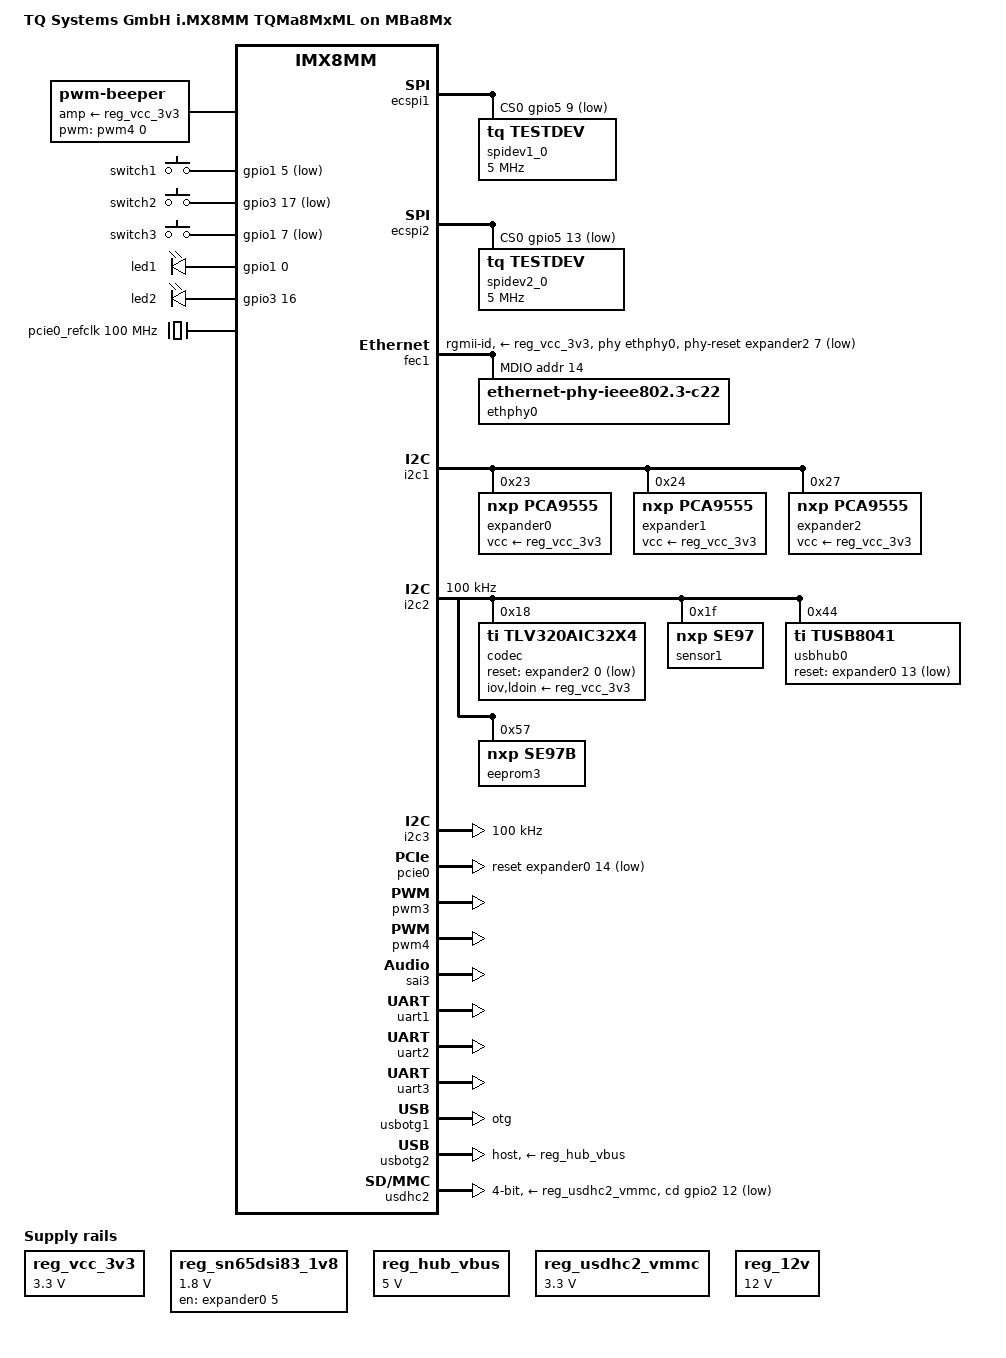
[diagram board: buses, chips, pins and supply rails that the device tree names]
// SPDX-License-Identifier: (GPL-2.0-or-later OR MIT)
/*
 * Copyright 2020-2021 TQ-Systems GmbH
 */

#include <dt-bindings/net/ti-dp83867.h>

/ {
	model = "TQ Systems GmbH i.MX8MM TQMa8MxML on MBa8Mx";
	compatible = "tq,imx8mm-mba8mx", "tq,imx8mm-tqma8mxml", "fsl,imx8mm";

	aliases {
		rtc1 = &snvs_rtc;
		rtc0 = &pcf85063;
	};

	backlight_lvds0: backlight0 {
		compatible = "pwm-backlight";
		pwms = <&pwm3 0 5000000>;
		brightness-levels = <0 4 8 16 32 64 128 255>;
		default-brightness-level = <7>;
		power-supply = <&reg_12v>;
		enable-gpios = <&expander2 2 GPIO_ACTIVE_HIGH>;
		status = "disabled";
	};

	beeper {
		compatible = "pwm-beeper";
		pwms = <&pwm4 0 250000 0>;
		beeper-hz = <4000>;
		amp-supply = <&reg_vcc_3v3>;
		status = "okay";
	};

	chosen {
		bootargs = "console=ttymxc2,115200 earlycon=ec_imx6q,0x30880000,115200";
		stdout-path = &uart3;
	};

	gpio-keys {
		compatible = "gpio-keys";
		pinctrl-names = "default";
		pinctrl-0 = <&pinctrl_gpiobutton>;
		autorepeat;

		switch1 {
			label = "switch1";
			linux,code = <BTN_0>;
			gpios = <&gpio1 5 GPIO_ACTIVE_LOW>;
			wakeup-source;
		};

		switch2 {
			label = "switch2";
			linux,code = <BTN_1>;
			gpios = <&gpio3 17 GPIO_ACTIVE_LOW>;
			wakeup-source;
		};

		switch3 {
			label = "switch3";
			linux,code = <BTN_2>;
			gpios = <&gpio1 7 GPIO_ACTIVE_LOW>;
			wakeup-source;
		};
	};

	gpio-leds {
		compatible = "gpio-leds";
		pinctrl-names = "default";
		pinctrl-0 = <&pinctrl_gpioled>;
		status = "okay";

		led1 {
			label = "led1";
			gpios = <&gpio1 0 GPIO_ACTIVE_HIGH>;
			linux,default-trigger = "default-on";
		};

		led2 {
			label = "led2";
			gpios = <&gpio3 16 GPIO_ACTIVE_HIGH>;
			linux,default-trigger = "heartbeat";
		};
	};

	panel0: panel_lvds0 {
		backlight = <&backlight_lvds0>;
		/* power-supply = <&reg_mba8mq_12v>; */
		status = "disabled";

		port {
			panel_in_lvds0: endpoint {
				remote-endpoint = <&lvds_bridge_out>;
			};
		};
	};

	pcie0_refclk: pcie0-refclk {
		compatible = "fixed-clock";
		#clock-cells = <0>;
		clock-frequency = <100000000>;
	};

	reg_vcc_3v3: regulator-3v3 {
		compatible = "regulator-fixed";
		regulator-name = "MBA8MQ_3V3";
		regulator-min-microvolt = <3300000>;
		regulator-max-microvolt = <3300000>;
	};

	reg_sn65dsi83_1v8: regulator-sn65dsi83-1v8 {
		compatible = "regulator-fixed";
		regulator-name = "SN65DSI83_1V8";
		regulator-min-microvolt = <1800000>;
		regulator-max-microvolt = <1800000>;
		gpio = <&expander0 5 GPIO_ACTIVE_HIGH>;
		enable-active-high;
	};

	reg_hub_vbus: regulator-hub-vbus {
		compatible = "regulator-fixed";
		regulator-name = "MBA8MQ_HUB_VBUS";
		regulator-min-microvolt = <5000000>;
		regulator-max-microvolt = <5000000>;
	};

	reg_usdhc2_vmmc: regulator-vmmc {
		compatible = "regulator-fixed";
		regulator-name = "VSD_3V3";
		regulator-min-microvolt = <3300000>;
		regulator-max-microvolt = <3300000>;
	};

	reg_12v: regulator-12v {
		compatible = "regulator-fixed";
		regulator-name = "MBA8MQ_12V";
		regulator-min-microvolt = <12000000>;
		regulator-max-microvolt = <12000000>;
		regulator-always-on;
	};

	sound {
		compatible = "fsl,imx-audio-tlv320aic32x4";
		model = "tqm-tlv320aic32";
		ssi-controller = <&sai3>;
		audio-codec = <&codec>;
	};
};

&ecspi1 {
	pinctrl-names = "default";
	pinctrl-0 = <&pinctrl_ecspi1>;
	cs-gpios = <&gpio5 9 GPIO_ACTIVE_LOW>;
	status = "okay";

	spidev1_0: spidev1@0 {
		reg = <0>;
		compatible = "tq,testdev";
		spi-max-frequency = <5000000>;
		status = "okay";
	};
};

&ecspi2 {
	pinctrl-names = "default";
	pinctrl-0 = <&pinctrl_ecspi2>;
	cs-gpios = <&gpio5 13 GPIO_ACTIVE_LOW>;
	status = "okay";

	spidev2_0: spidev2@0 {
		reg = <0>;
		compatible = "tq,testdev";
		spi-max-frequency = <5000000>;
		status = "okay";
	};
};

&fec1 {
	pinctrl-names = "default";
	pinctrl-0 = <&pinctrl_fec1>;
	phy-mode = "rgmii-id";
	phy-handle = <&ethphy0>;
	phy-supply = <&reg_vcc_3v3>;
	fsl,magic-packet;
	phy-reset-gpios = <&expander2 7 GPIO_ACTIVE_LOW>;
	phy-reset-duration = <500>;
	mac-address = [ 00 00 00 00 00 00 ];
	status = "okay";

	mdio {
		#address-cells = <1>;
		#size-cells = <0>;

		ethphy0: ethernet-phy@e {
			compatible = "ethernet-phy-ieee802.3-c22";
			reg = <0xe>;
			ti,rx-internal-delay = <DP83867_RGMIIDCTL_2_50_NS>;
			ti,tx-internal-delay = <DP83867_RGMIIDCTL_2_50_NS>;
			ti,fifo-depth = <DP83867_PHYCR_FIFO_DEPTH_4_B_NIB>;
			ti,dp83867-rxctrl-strap-quirk;
			ti,clk-output-sel = <DP83867_CLK_O_SEL_OFF>;
			enet-phy-lane-no-swap;
			/* LED0: Link, LED2: activity */
			ti,led-function = <0x0100>;
			/* active low, LED0/2 driven by phy */
			ti,led-ctrl = <0x1010>;
		};
	};
};

&iomuxc {
	pinctrl_ecspi1: ecspi1grp {
		fsl,pins = <
			MX8MM_IOMUXC_ECSPI1_SCLK_ECSPI1_SCLK	0x00000006
			MX8MM_IOMUXC_ECSPI1_MOSI_ECSPI1_MOSI	0x00000006
			MX8MM_IOMUXC_ECSPI1_MISO_ECSPI1_MISO	0x00000006
			MX8MM_IOMUXC_ECSPI1_SS0_GPIO5_IO9	0x00000006
		>;
	};

	pinctrl_ecspi2: ecspi2grp {
		fsl,pins = <
			MX8MM_IOMUXC_ECSPI2_SCLK_ECSPI2_SCLK	0x00000006
			MX8MM_IOMUXC_ECSPI2_MOSI_ECSPI2_MOSI	0x00000006
			MX8MM_IOMUXC_ECSPI2_MISO_ECSPI2_MISO	0x00000006
			MX8MM_IOMUXC_ECSPI2_SS0_GPIO5_IO13	0x00000006
		>;
	};

	pinctrl_fec1: fec1grp {
		fsl,pins = <
			MX8MM_IOMUXC_ENET_MDC_ENET1_MDC		0x40000002
			MX8MM_IOMUXC_ENET_MDIO_ENET1_MDIO	0x40000002
			MX8MM_IOMUXC_ENET_TD3_ENET1_RGMII_TD3	0x16
			MX8MM_IOMUXC_ENET_TD2_ENET1_RGMII_TD2	0x16
			MX8MM_IOMUXC_ENET_TD1_ENET1_RGMII_TD1	0x16
			MX8MM_IOMUXC_ENET_TD0_ENET1_RGMII_TD0	0x16
			MX8MM_IOMUXC_ENET_RD3_ENET1_RGMII_RD3	0x90
			MX8MM_IOMUXC_ENET_RD2_ENET1_RGMII_RD2	0x90
			MX8MM_IOMUXC_ENET_RD1_ENET1_RGMII_RD1	0x90
			MX8MM_IOMUXC_ENET_RD0_ENET1_RGMII_RD0	0x90
			MX8MM_IOMUXC_ENET_TXC_ENET1_RGMII_TXC	0x16
			MX8MM_IOMUXC_ENET_RXC_ENET1_RGMII_RXC	0x90
			MX8MM_IOMUXC_ENET_RX_CTL_ENET1_RGMII_RX_CTL	0x90
			MX8MM_IOMUXC_ENET_TX_CTL_ENET1_RGMII_TX_CTL	0x16
			MX8MM_IOMUXC_SAI2_RXC_GPIO4_IO22	0x10
		>;
	};

	pinctrl_gpiobutton: gpiobuttongrp {
		fsl,pins = <
			MX8MM_IOMUXC_GPIO1_IO05_GPIO1_IO5	0x84
			MX8MM_IOMUXC_GPIO1_IO07_GPIO1_IO7	0x84
			MX8MM_IOMUXC_NAND_WE_B_GPIO3_IO17	0x84
		>;
	};

	pinctrl_gpioled: gpioledgrp {
		fsl,pins = <
			MX8MM_IOMUXC_GPIO1_IO00_GPIO1_IO0	0x84
			MX8MM_IOMUXC_NAND_READY_B_GPIO3_IO16	0x84
		>;
	};

	pinctrl_i2c2: i2c2grp {
		fsl,pins = <
			MX8MM_IOMUXC_I2C2_SCL_I2C2_SCL		0x40000004
			MX8MM_IOMUXC_I2C2_SDA_I2C2_SDA		0x40000004
		>;
	};

	pinctrl_i2c3: i2c3grp {
		fsl,pins = <
			MX8MM_IOMUXC_I2C3_SCL_I2C3_SCL		0x40000004
			MX8MM_IOMUXC_I2C3_SDA_I2C3_SDA		0x40000004
		>;
	};

	pinctrl_pwm3: pwm3grp {
		fsl,pins = <
			MX8MM_IOMUXC_GPIO1_IO14_PWM3_OUT	0x16
		>;
	};

	pinctrl_pwm4: pwm4grp {
		fsl,pins = <
			MX8MM_IOMUXC_GPIO1_IO15_PWM4_OUT	0x16
		>;
	};


	pinctrl_sai3: sai3grp {
		fsl,pins = <
			MX8MM_IOMUXC_SAI3_MCLK_SAI3_MCLK	0x96
			MX8MM_IOMUXC_SAI3_RXC_SAI3_RX_BCLK	0x96
			MX8MM_IOMUXC_SAI3_RXFS_SAI3_RX_SYNC	0x96
			MX8MM_IOMUXC_SAI3_RXD_SAI3_RX_DATA0	0x96
			MX8MM_IOMUXC_SAI3_TXFS_SAI3_TX_SYNC	0x96
			MX8MM_IOMUXC_SAI3_TXD_SAI3_TX_DATA0	0x96
			MX8MM_IOMUXC_SAI3_TXC_SAI3_TX_BCLK	0x96
		>;
	};

	pinctrl_uart1: uart1grp {
		fsl,pins = <
			MX8MM_IOMUXC_UART1_RXD_UART1_DCE_RX	0x16
			MX8MM_IOMUXC_UART1_TXD_UART1_DCE_TX	0x16
		>;
	};

	pinctrl_uart2: uart2grp {
		fsl,pins = <
			MX8MM_IOMUXC_UART2_RXD_UART2_DCE_RX	0x16
			MX8MM_IOMUXC_UART2_TXD_UART2_DCE_TX	0x16
		>;
	};

	pinctrl_uart3: uart3grp {
		fsl,pins = <
			MX8MM_IOMUXC_UART3_RXD_UART3_DCE_RX	0x16
			MX8MM_IOMUXC_UART3_TXD_UART3_DCE_TX	0x16
		>;
	};

	pinctrl_uart4: uart4grp {
		fsl,pins = <
			MX8MM_IOMUXC_UART4_RXD_UART4_DCE_RX	0x16
			MX8MM_IOMUXC_UART4_TXD_UART4_DCE_TX	0x16
		>;
	};

	pinctrl_usbotg: usbotggrp {
		fsl,pins = <
			MX8MM_IOMUXC_GPIO1_IO12_USB1_OTG_PWR	0x84
			MX8MM_IOMUXC_GPIO1_IO13_USB1_OTG_OC	0x84
			MX8MM_IOMUXC_GPIO1_IO10_USB1_OTG_ID	0x84
		>;
	};

	pinctrl_usdhc2_gpio: usdhc2grpgpio {
		fsl,pins = <
			MX8MM_IOMUXC_SD2_CD_B_GPIO2_IO12	0x84
		>;
	};

	pinctrl_usdhc2: usdhc2grp {
		fsl,pins = <
			MX8MM_IOMUXC_SD2_CLK_USDHC2_CLK		0x94
			MX8MM_IOMUXC_SD2_CMD_USDHC2_CMD		0x94
			MX8MM_IOMUXC_SD2_DATA0_USDHC2_DATA0	0x94
			MX8MM_IOMUXC_SD2_DATA1_USDHC2_DATA1	0x94
			MX8MM_IOMUXC_SD2_DATA2_USDHC2_DATA2	0x94
			MX8MM_IOMUXC_SD2_DATA3_USDHC2_DATA3	0x94
			MX8MM_IOMUXC_GPIO1_IO04_USDHC2_VSELECT	0x84
		>;
	};

	pinctrl_usdhc2_100mhz: usdhc2grp100mhz {
		fsl,pins = <
			MX8MM_IOMUXC_SD2_CLK_USDHC2_CLK		0x92
			MX8MM_IOMUXC_SD2_CMD_USDHC2_CMD		0x92
			MX8MM_IOMUXC_SD2_DATA0_USDHC2_DATA0	0x92
			MX8MM_IOMUXC_SD2_DATA1_USDHC2_DATA1	0x92
			MX8MM_IOMUXC_SD2_DATA2_USDHC2_DATA2	0x92
			MX8MM_IOMUXC_SD2_DATA3_USDHC2_DATA3	0x92
			MX8MM_IOMUXC_GPIO1_IO04_USDHC2_VSELECT	0x84
		>;
	};

	pinctrl_usdhc2_200mhz: usdhc2grp200mhz {
		fsl,pins = <
			MX8MM_IOMUXC_SD2_CLK_USDHC2_CLK		0x96
			MX8MM_IOMUXC_SD2_CMD_USDHC2_CMD		0x96
			MX8MM_IOMUXC_SD2_DATA0_USDHC2_DATA0	0x96
			MX8MM_IOMUXC_SD2_DATA1_USDHC2_DATA1	0x96
			MX8MM_IOMUXC_SD2_DATA2_USDHC2_DATA2	0x96
			MX8MM_IOMUXC_SD2_DATA3_USDHC2_DATA3	0x96
			MX8MM_IOMUXC_GPIO1_IO04_USDHC2_VSELECT	0x84
		>;
	};
};

&i2c1 {
	systemcontroller: syscon@11 {
		reg = <0x11>;
		status = "disabled";
	};

	expander0: gpio@23 {
		compatible = "nxp,pca9555";
		reg = <0x23>;
		gpio-controller;
		#gpio-cells = <2>;
		vcc-supply = <&reg_vcc_3v3>;

		sd-mux-oe {
			gpio-hog;
			gpios = <8 0>;
			output-low;
			line-name = "SD_MUX_EN#";
		};

		boot-cfg-oe {
			gpio-hog;
			gpios = <12 0>;
			output-high;
			line-name = "BOOT_CFG_OE#";
		};
	};

	expander1: gpio@24 {
		compatible = "nxp,pca9555";
		reg = <0x24>;
		gpio-controller;
		#gpio-cells = <2>;
		vcc-supply = <&reg_vcc_3v3>;
	};

	expander2: gpio@27 {
		compatible = "nxp,pca9555";
		reg = <0x27>;
		gpio-controller;
		#gpio-cells = <2>;
		vcc-supply = <&reg_vcc_3v3>;
	};
};

&i2c2 {
	clock-frequency = <100000>;
	pinctrl-names = "default";
	pinctrl-0 = <&pinctrl_i2c2>;
	status = "okay";

	codec: tlv320aic3x04@18 {
		compatible = "ti,tlv320aic32x4";
		reg = <0x18>;
		reset-gpios = <&expander2 0 GPIO_ACTIVE_LOW>;

		clocks = <&clk IMX8MM_CLK_SAI3_ROOT>;
		clock-names = "mclk";

		status = "okay";
		iov-supply = <&reg_vcc_3v3>;
		ldoin-supply = <&reg_vcc_3v3>;
	};

	/*
	 * NXP SE97BTP with temperature sensor + eeprom
	 */
	sensor1: sensor@1f {
		compatible = "nxp,se97", "jedec,jc-42.4-temp";
		reg = <0x1f>;
	};

	usbhub0: usbhub@44 {
		compatible = "ti,tusb8041", "ti,tusb80xx";
		reg = <0x44>;
		reset-gpios = <&expander0 13 GPIO_ACTIVE_LOW>;
		status = "okay";
	};

	eeprom3: eeprom@57 {
		compatible = "nxp,se97b", "atmel,24c02";
		reg = <0x57>;
		pagesize = <16>;
	};

	/* PCIe CLK, should work without intervention */
	pciclk: clk@68 {
		reg = <0x68>;
		status = "disabled";
	};
};

&i2c3 {
	clock-frequency = <100000>;
	pinctrl-names = "default";
	pinctrl-0 = <&pinctrl_i2c3>;
	status = "okay";

	dsi_lvds_bridge: dsi-lvds-bridge@2d {
		compatible = "ti,sn65dsi83";
		reg = <0x2d>;
		enable-gpio = <&expander0 6 GPIO_ACTIVE_HIGH>;
		vcc1v8-supply = <&reg_sn65dsi83_1v8>;
		status = "disabled";

		ports {
			#address-cells = <1>;
			#size-cells = <0>;

			port@1 {
				reg = <1>;

				lvds_bridge_out: endpoint {
					remote-endpoint = <&panel_in_lvds0>;
				};
			};
		};
	};
};

&pcie0{
	reset-gpio = <&expander0 14 GPIO_ACTIVE_LOW>;
	clocks = <&clk IMX8MM_CLK_PCIE1_ROOT>,
		 <&clk IMX8MM_CLK_PCIE1_AUX>,
		 <&clk IMX8MM_CLK_PCIE1_PHY>,
		 <&pcie0_refclk>;
	clock-names = "pcie", "pcie_aux", "pcie_phy", "pcie_bus";
	ext_osc = <1>;
	epdev_on-supply = <&reg_vcc_3v3>;
	status = "okay";
};

&pwm3 {
	pinctrl-names = "default";
	pinctrl-0 = <&pinctrl_pwm3>;
	status = "okay";
};

&pwm4 {
	pinctrl-names = "default";
	pinctrl-0 = <&pinctrl_pwm4>;
	status = "okay";
};

&sai3 {
	pinctrl-names = "default";
	pinctrl-0 = <&pinctrl_sai3>;
	#sound-dai-cells = <0>;
	assigned-clocks = <&clk IMX8MM_CLK_SAI3>;
	assigned-clock-parents = <&clk IMX8MM_AUDIO_PLL1_OUT>;
	assigned-clock-rates = <49152000>;
	clocks = <&clk IMX8MM_CLK_SAI3_IPG>, <&clk IMX8MM_CLK_DUMMY>,
		<&clk IMX8MM_CLK_SAI3_ROOT>, <&clk IMX8MM_CLK_DUMMY>,
		<&clk IMX8MM_CLK_DUMMY>, <&clk IMX8MM_AUDIO_PLL1_OUT>,
		<&clk IMX8MM_AUDIO_PLL2_OUT>;
	clock-names = "bus", "mclk0", "mclk1", "mclk2", "mclk3", "pll8k", "pll11k";
	status = "okay";
};

&uart1 {
	pinctrl-names = "default";
	pinctrl-0 = <&pinctrl_uart1>;
	assigned-clocks = <&clk IMX8MM_CLK_UART1>;
	assigned-clock-parents = <&clk IMX8MM_SYS_PLL1_80M>;
	status = "okay";
};

&uart2 {
	pinctrl-names = "default";
	pinctrl-0 = <&pinctrl_uart2>;
	assigned-clocks = <&clk IMX8MM_CLK_UART2>;
	assigned-clock-parents = <&clk IMX8MM_SYS_PLL1_80M>;
	status = "okay";
};

/* console */
&uart3 {
	pinctrl-names = "default";
	pinctrl-0 = <&pinctrl_uart3>;
	status = "okay";
};

/* TODO: does not work, leads to system stall */
&uart4 {
	pinctrl-names = "default";
	pinctrl-0 = <&pinctrl_uart4>;
	assigned-clocks = <&clk IMX8MM_CLK_UART4>;
	assigned-clock-parents = <&clk IMX8MM_SYS_PLL1_80M>;
	status = "disabled";
};

&usbotg1 {
	pinctrl-names = "default";
	pinctrl-0 = <&pinctrl_usbotg>;
	dr_mode = "otg";
	id-from-iomux;
	srp-disable;
	hnp-disable;
	adp-disable;
	power-active-high;
	over-current-active-low;
	status = "okay";
};

&usbotg2 {
	dr_mode = "host";
	disable-over-current;
	power-active-high;
	vbus-supply = <&reg_hub_vbus>;
	status = "okay";
};

&usdhc2 {
	pinctrl-names = "default", "state_100mhz", "state_200mhz";
	pinctrl-0 = <&pinctrl_usdhc2>, <&pinctrl_usdhc2_gpio>;
	pinctrl-1 = <&pinctrl_usdhc2_100mhz>, <&pinctrl_usdhc2_gpio>;
	pinctrl-2 = <&pinctrl_usdhc2_200mhz>, <&pinctrl_usdhc2_gpio>;
	bus-width = <4>;
	cd-gpios = <&gpio2 12 GPIO_ACTIVE_LOW>;
	disable-wp;
	no-mmc;
	vmmc-supply = <&reg_usdhc2_vmmc>;
	status = "okay";
};
